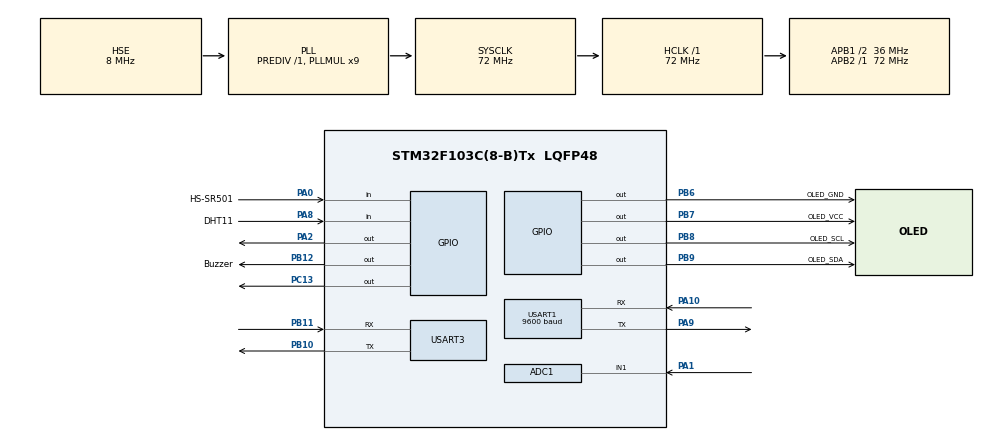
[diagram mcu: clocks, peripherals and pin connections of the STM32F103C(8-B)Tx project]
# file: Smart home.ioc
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ADC1.Channel-2\#ChannelRegularConversion=ADC_CHANNEL_1
ADC1.NbrOfConversionFlag=1
ADC1.Rank-2\#ChannelRegularConversion=1
ADC1.SamplingTime-2\#ChannelRegularConversion=ADC_SAMPLETIME_1CYCLE_5
ADC1.master=1
FREERTOS.Tasks01=defaultTask,24,128,StartDefaultTask,Default,NULL,Dynamic,NULL,NULL
FREERTOS.configTOTAL_HEAP_SIZE=10240
Mcu.Family=STM32F1
Mcu.Name=STM32F103C(8-B)Tx
Mcu.Package=LQFP48
NVIC.PriorityGroup=NVIC_PRIORITYGROUP_4
NVIC.USART1_IRQn=true\:5\:0\:false\:false\:true\:true\:true\:true\:true
PA0-WKUP.GPIO_Label=HS-SR501
PA0-WKUP.GPIO_PuPd=GPIO_PULLDOWN
PA0-WKUP.Signal=GPIO_Input
PA1.Signal=ADCx_IN1
PA10.Mode=Asynchronous
PA10.Signal=USART1_RX
PA13.Mode=Serial_Wire
PA13.Signal=SYS_JTMS-SWDIO
PA14.Mode=Serial_Wire
PA14.Signal=SYS_JTCK-SWCLK
PA2.Signal=GPIO_Output
PA8.GPIO_Label=DHT11
PA8.Signal=GPIO_Input
PA9.Mode=Asynchronous
PA9.Signal=USART1_TX
PB10.Mode=Asynchronous
PB10.Signal=USART3_TX
PB11.Mode=Asynchronous
PB11.Signal=USART3_RX
PB12.GPIO_Label=Buzzer
PB12.GPIO_PuPd=GPIO_PULLUP
PB12.PinState=GPIO_PIN_SET
PB12.Signal=GPIO_Output
PB6.GPIO_Label=OLED_GND
PB6.GPIO_PuPd=GPIO_PULLDOWN
PB6.Signal=GPIO_Output
PB7.GPIO_Label=OLED_VCC
PB7.GPIO_PuPd=GPIO_PULLUP
PB7.PinState=GPIO_PIN_SET
PB7.Signal=GPIO_Output
PB8.GPIO_Label=OLED_SCL
PB8.GPIO_ModeDefaultOutputPP=GPIO_MODE_OUTPUT_OD
PB8.GPIO_PuPd=GPIO_PULLUP
PB8.Signal=GPIO_Output
PB9.GPIO_Label=OLED_SDA
PB9.GPIO_ModeDefaultOutputPP=GPIO_MODE_OUTPUT_OD
PB9.GPIO_PuPd=GPIO_PULLUP
PB9.Signal=GPIO_Output
PC13-TAMPER-RTC.Signal=GPIO_Output
PD0-OSC_IN.Mode=HSE-External-Oscillator
PD0-OSC_IN.Signal=RCC_OSC_IN
PD1-OSC_OUT.Mode=HSE-External-Oscillator
PD1-OSC_OUT.Signal=RCC_OSC_OUT
ProjectManager.HeapSize=0x200
ProjectManager.StackSize=0x400
ProjectManager.TargetToolchain=MDK-ARM V5.32
RCC.ADCPresc=RCC_ADCPCLK2_DIV6
RCC.AHBFreq_Value=72000000
RCC.APB1CLKDivider=RCC_HCLK_DIV2
RCC.APB1Freq_Value=36000000
RCC.APB1TimFreq_Value=72000000
RCC.APB2Freq_Value=72000000
RCC.APB2TimFreq_Value=72000000
RCC.HCLKFreq_Value=72000000
RCC.PLLMUL=RCC_PLL_MUL9
RCC.PLLSourceVirtual=RCC_PLLSOURCE_HSE
RCC.SYSCLKFreq_VALUE=72000000
RCC.SYSCLKSource=RCC_SYSCLKSOURCE_PLLCLK
RCC.USBFreq_Value=72000000
SH.ADCx_IN1.0=ADC1_IN1,IN1
TIM1.Prescaler=72-1
USART1.BaudRate=9600
USART1.VirtualMode=VM_ASYNC
USART3.VirtualMode=VM_ASYNC
VP_FREERTOS_VS_CMSIS_V2.Mode=CMSIS_V2
VP_TIM1_VS_ClockSourceINT.Mode=Internal
board=custom

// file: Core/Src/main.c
/* USER CODE BEGIN Header */
/**
 ******************************************************************************
 * @file           : main.c
 * @brief          : 项目主入口
 ******************************************************************************
 * @attention
 *
 * Copyright (c) 2026 STMicroelectronics.
 * All rights reserved.
 *
 * This software is licensed under terms that can be found in the LICENSE file
 * in the root directory of this software component.
 * If no LICENSE file comes with this software, it is provided AS-IS.
 *
 ******************************************************************************
 */
/* USER CODE END Header */
#include "main.h"
#include "cmsis_os.h"
#include "adc.h"
#include "tim.h"
#include "usart.h"
#include "gpio.h"

/* USER CODE BEGIN Includes */
#include "myoled.h"
#include "mymq-7.h"
#include "hc-sr501.h"
#include "buzzer.h"
#include "esp32-s3.h"
#include "temp_humi.h"
#include "modbus.h"
#include "crc.h"
/* USER CODE END Includes */

/* USER CODE BEGIN PV */

/**
 * @brief  串口接收回调函数（带空闲检测）
 * @param  huart UART句柄
 * @param  Size 接收到的字节数
 * @retval None
 */
void HAL_UARTEx_RxEventCallback(UART_HandleTypeDef *huart, uint16_t Size)
{
  if (huart->Instance == USART1)
  {
    rx_size = Size; // 获取接收到的数据长度
    rx_flag = 1;    // 设置接收完成标志
  }
}

/* USER CODE END PV */

void SystemClock_Config(void);
void MX_FREERTOS_Init(void);

/* USER CODE BEGIN 0 */
uint8_t buzzer_bit1 = 0; // CO 报警标志位
uint8_t buzzer_bit2 = 0; // 人体感应报警标志位

/* USER CODE END 0 */

/**
  * @brief  应用程序入口点
  * @retval int
  */
int main(void)
{

  /* MCU Configuration--------------------------------------------------------*/

  /* 重置所有外设，初始化 Flash 接口和 Systick */
  HAL_Init();

  /* 配置系统时钟 */
  SystemClock_Config();

  /* 初始化所有已配置的外设 */
  MX_GPIO_Init();
  MX_USART1_UART_Init();
  MX_TIM1_Init();
  MX_ADC1_Init();
  MX_USART3_UART_Init();

  /* USER CODE BEGIN 2 */
  OLED_Init();   // 初始化 OLED 显示屏
  OLED_Clear();  // 清屏

  // 启动 ADC 硬件自校准
  HAL_ADCEx_Calibration_Start(&hadc1);

  // 启动串口1异步接收（带空闲中断）
  HAL_UARTEx_ReceiveToIdle_IT(&huart1, rx_buffer, sizeof(rx_buffer));
  /* USER CODE END 2 */

  /* 初始化调度器 */
  osKernelInitialize();

  /* 初始化 FreeRTOS 对象（在 freertos.c 中定义） */
  MX_FREERTOS_Init();

  /* 启动调度器 */
  osKernelStart();

  /* 如果控制流到达这里，说明调度器启动失败 */
  /* Infinite loop */
  while (1)
  {

  }
}

/**
  * @brief 系统时钟配置
  * @retval None
  */
void SystemClock_Config(void)
{
  RCC_OscInitTypeDef RCC_OscInitStruct = {0};
  RCC_ClkInitTypeDef RCC_ClkInitStruct = {0};
  RCC_PeriphCLKInitTypeDef PeriphClkInit = {0};

  /** 初始化 RCC 振荡器
  */
  RCC_OscInitStruct.OscillatorType = RCC_OSCILLATORTYPE_HSE;
  RCC_OscInitStruct.HSEState = RCC_HSE_ON;
  RCC_OscInitStruct.HSEPredivValue = RCC_HSE_PREDIV_DIV1;
  RCC_OscInitStruct.HSIState = RCC_HSI_ON;
  RCC_OscInitStruct.PLL.PLLState = RCC_PLL_ON;
  RCC_OscInitStruct.PLL.PLLSource = RCC_PLLSOURCE_HSE;
  RCC_OscInitStruct.PLL.PLLMUL = RCC_PLL_MUL9;
  if (HAL_RCC_OscConfig(&RCC_OscInitStruct) != HAL_OK)
  {
    Error_Handler();
  }

  /** 初始化 CPU、AHB 和 APB 总线时钟
  */
  RCC_ClkInitStruct.ClockType = RCC_CLOCKTYPE_HCLK|RCC_CLOCKTYPE_SYSCLK
                              |RCC_CLOCKTYPE_PCLK1|RCC_CLOCKTYPE_PCLK2;
  RCC_ClkInitStruct.SYSCLKSource = RCC_SYSCLKSOURCE_PLLCLK;
  RCC_ClkInitStruct.AHBCLKDivider = RCC_SYSCLK_DIV1;
  RCC_ClkInitStruct.APB1CLKDivider = RCC_HCLK_DIV2;
  RCC_ClkInitStruct.APB2CLKDivider = RCC_HCLK_DIV1;

  if (HAL_RCC_ClockConfig(&RCC_ClkInitStruct, FLASH_LATENCY_2) != HAL_OK)
  {
    Error_Handler();
  }
  PeriphClkInit.PeriphClockSelection = RCC_PERIPHCLK_ADC;
  PeriphClkInit.AdcClockSelection = RCC_ADCPCLK2_DIV6;
  if (HAL_RCCEx_PeriphCLKConfig(&PeriphClkInit) != HAL_OK)
  {
    Error_Handler();
  }
}

/**
  * @brief  错误处理回调
  * @retval None
  */
void Error_Handler(void)
{
  __disable_irq();
  while (1)
  {
  }
}

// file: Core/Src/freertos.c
/* USER CODE BEGIN Header */
/**
 ******************************************************************************
 * File Name          : freertos.c
 * Description        : FreeRTOS 任务及系统初始化代码
 ******************************************************************************
 * @attention
 *
 * Copyright (c) 2026 STMicroelectronics.
 * All rights reserved.
 *
 * This software is licensed under terms that can be found in the LICENSE file
 * in the root directory of this software component.
 * If no LICENSE file comes with this software, it is provided AS-IS.
 *
 ******************************************************************************
 */
/* USER CODE END Header */

#include "FreeRTOS.h"
#include "task.h"
#include "main.h"
#include "cmsis_os.h"

/* USER CODE BEGIN Includes */
#include <stdint.h>
#include "myoled.h"
#include "mymq-7.h"
#include "hc-sr501.h"
#include "buzzer.h"
#include "esp32-s3.h"
#include "temp_humi.h"
#include "modbus.h"
#include "crc.h"
/* USER CODE END Includes */

/* USER CODE BEGIN Variables */

// OLED 显示任务句柄及属性
osThreadId_t OLED_Handle;
const osThreadAttr_t OLED_attributes = {
    .name = "OLED",
    .stack_size = 1024,                         // 线程栈大小 (单位：字节)
    .priority = (osPriority_t)osPriorityNormal, // 优先级：普通
};

// RS485 ModBus 温湿度读取任务句柄及属性
osThreadId_t RS485_ModBus_humi_temp_Handle;
const osThreadAttr_t RS485_ModBus_humi_temp_attributes = {
    .name = "RS485_ModBus_humi_temp",
    .stack_size = 2048,                               // 线程栈大小
    .priority = (osPriority_t)osPriorityAboveNormal,  // 优先级：高于普通
};

// MQ-7 烟雾/CO 传感器任务句柄及属性
osThreadId_t MQ7_Handle;
const osThreadAttr_t MQ7_attributes = {
    .name = "MQ7",
    .stack_size = 1024,
    .priority = (osPriority_t)osPriorityNormal,
};

// HC-SR501 人体红外感应任务句柄及属性
osThreadId_t HC_SR_501_Handle;
const osThreadAttr_t HC_SR_501_attributes = {
    .name = "HC_SR_501",
    .stack_size = 1024,
    .priority = (osPriority_t)osPriorityAboveNormal,
};

// 蜂鸣器控制任务句柄及属性
osThreadId_t buzzer_Handle;
const osThreadAttr_t buzzer_attributes = {
    .name = "buzzer",
    .stack_size = 1024,
    .priority = (osPriority_t)osPriorityAboveNormal,
};

// ESP32-S3 数据上报任务句柄及属性
osThreadId_t esp_report_Handle;
const osThreadAttr_t esp_report_attributes = {
    .name = "esp_report",
    .stack_size = 1024,
    .priority = (osPriority_t)osPriorityAboveNormal,
};

/* USER CODE END Variables */
/* Definitions for defaultTask */
osThreadId_t defaultTaskHandle;
const osThreadAttr_t defaultTask_attributes = {
  .name = "defaultTask",
  .stack_size = 128 * 4,
  .priority = (osPriority_t) osPriorityNormal,
};

void StartDefaultTask(void *argument);

void MX_FREERTOS_Init(void); /* (MISRA C 2004 rule 8.1) */

/**
  * @brief  FreeRTOS 初始化
  * @param  None
  * @retval None
  */
void MX_FREERTOS_Init(void) {

  /* Create the thread(s) */
  /* creation of defaultTask */
  defaultTaskHandle = osThreadNew(StartDefaultTask, NULL, &defaultTask_attributes);

  /* USER CODE BEGIN RTOS_THREADS */

  // 创建 OLED 刷新任务
  OLED_Handle = osThreadNew(oled_task, NULL, &OLED_attributes);

  // 创建温湿度读取任务 (ModBus RTU)
  RS485_ModBus_humi_temp_Handle = osThreadNew(Temp_Humi_Read, NULL, &RS485_ModBus_humi_temp_attributes);

  // 创建 MQ-7 采集任务
  MQ7_Handle = osThreadNew(mq7_task, NULL, &MQ7_attributes);

  // 创建人体感应采集任务
  HC_SR_501_Handle = osThreadNew(hc_sr501_task, NULL, &HC_SR_501_attributes);

  // 创建蜂鸣器控制任务
  buzzer_Handle = osThreadNew(Buzzer_Task, NULL, &buzzer_attributes);

  // 创建 ESP32 数据上报任务
  esp_report_Handle = osThreadNew(esp_report, NULL, &esp_report_attributes);

  /* USER CODE END RTOS_THREADS */

}

/* USER CODE BEGIN Header_StartDefaultTask */
/**
 * @brief  默认任务（心跳灯）
 * @param  argument: 不使用
 * @retval None
 */
/* USER CODE END Header_StartDefaultTask */
void StartDefaultTask(void *argument)
{
  /* USER CODE BEGIN StartDefaultTask */
  /* Infinite loop */
  for (;;)
  {
    HAL_GPIO_TogglePin(GPIOC, GPIO_PIN_13); // 翻转 PC13 (板载 LED)
    osDelay(500); // 延时 500ms
  }
  /* USER CODE END StartDefaultTask */
}
